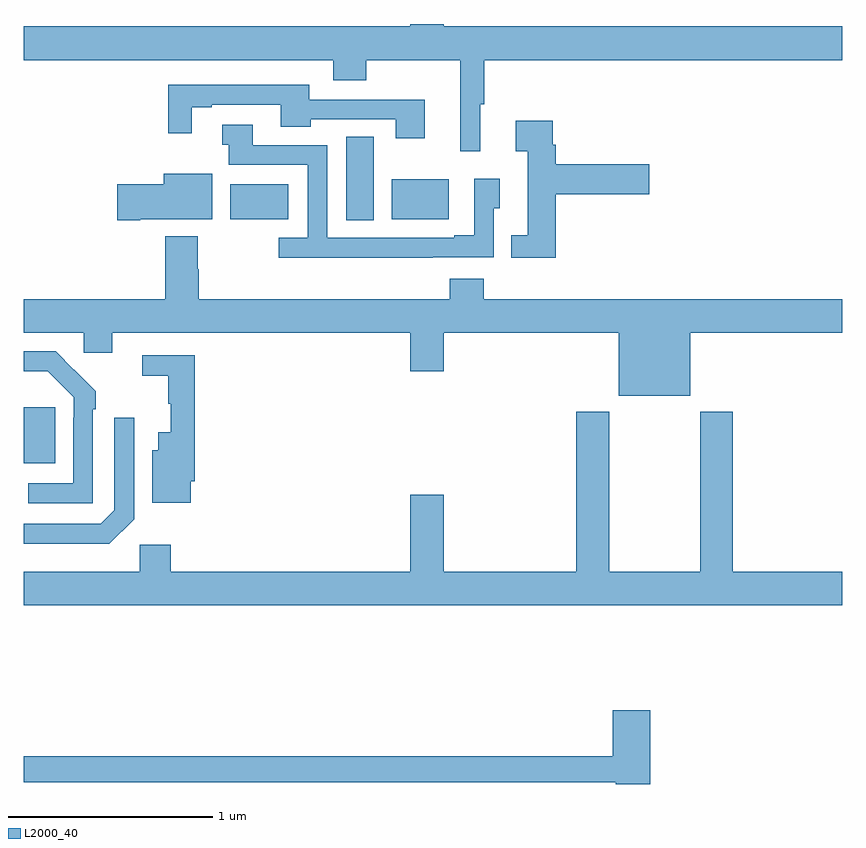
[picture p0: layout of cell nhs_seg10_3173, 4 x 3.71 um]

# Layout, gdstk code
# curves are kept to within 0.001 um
import gdstk
lib = gdstk.Library(unit=1e-6, precision=1e-09)
def R(c, l, rs):  # rectangles x0, y0, x1, y1
    for r in rs: c.add(gdstk.rectangle(r[:2], r[2:], *l))
def P(c, l, *ps):  # polygons
    for p in ps: c.add(gdstk.Polygon(p, *l))
L2000_40 = (2000, 40)

nhs_seg10_3173 = lib.new_cell('nhs_seg10_3173')
R(nhs_seg10_3173, L2000_40, [(283,1290.353,283.153,1290.628), (284.576,1291.54,284.71,1291.949), (284.009,1291.547,284.293,1291.717), (284.798,1291.547,285.076,1291.741)])
P(nhs_seg10_3173, L2000_40, [(285.232,1292.109),(285.251,1292.109),(285.251,1292.324),(287,1292.324),(287,1292.488),(285.052,1292.488),(285.052,1292.5),(284.888,1292.5),(284.888,1292.488),(283,1292.488),(283,1292.324),(284.513,1292.324),(284.513,1292.225),(284.673,1292.225),(284.673,1292.324),(285.134,1292.324),(285.134,1291.878),(285.232,1291.878)],
  [(284.959,1292.13),(284.395,1292.13),(284.395,1292.202),(283.705,1292.202),(283.705,1291.965),(283.822,1291.965),(283.822,1292.094),(283.918,1292.094),(283.918,1292.106),(284.255,1292.106),(284.255,1291.997),(284.403,1291.997),(284.403,1292.034),(284.819,1292.034),(284.819,1291.941),(284.959,1291.941)],
  [(285.599,1291.667),(286.057,1291.667),(286.057,1291.814),(285.599,1291.814),(285.599,1291.91),(285.586,1291.91),(285.586,1292.026),(285.405,1292.026),(285.405,1291.879),(285.464,1291.879),(285.464,1291.468),(285.382,1291.468),(285.382,1291.358),(285.599,1291.358)],
  [(284.999,1291.359),(285.297,1291.359),(285.297,1291.599),(285.325,1291.599),(285.325,1291.744),(285.201,1291.744),(285.201,1291.468),(285.104,1291.468),(285.104,1291.455),(284.484,1291.455),(284.484,1291.908),(284.119,1291.908),(284.119,1292.007),(283.971,1292.007),(283.971,1291.91),(284.002,1291.91),(284.002,1291.812),(284.388,1291.812),(284.388,1291.455),(284.247,1291.455),(284.247,1291.358),(284.999,1291.358)],
  [(283.57,1291.547),(283.921,1291.547),(283.921,1291.768),(283.685,1291.768),(283.685,1291.718),(283.458,1291.718),(283.458,1291.54),(283.57,1291.54)],
  [(286.258,1290.992),(287,1290.992),(287,1291.156),(285.248,1291.156),(285.248,1291.255),(285.083,1291.255),(285.083,1291.156),(283.856,1291.156),(283.856,1291.301),(283.851,1291.301),(283.851,1291.462),(283.691,1291.462),(283.691,1291.156),(283,1291.156),(283,1290.992),(283.293,1290.992),(283.293,1290.894),(283.432,1290.894),(283.432,1290.992),(284.888,1290.992),(284.888,1290.804),(285.052,1290.804),(285.052,1290.992),(285.908,1290.992),(285.908,1290.683),(286.258,1290.683)],
  [(283.338,1290.617),(283.353,1290.617),(283.353,1290.705),(283.156,1290.9),(283,1290.9),(283,1290.804),(283.117,1290.804),(283.245,1290.675),(283.245,1290.575),(283.242,1290.575),(283.242,1290.255),(283.023,1290.255),(283.023,1290.159),(283.338,1290.159)],
  [(283.816,1290.265),(283.835,1290.265),(283.835,1290.882),(283.578,1290.882),(283.578,1290.781),(283.707,1290.781),(283.707,1290.645),(283.718,1290.645),(283.718,1290.505),(283.658,1290.505),(283.658,1290.418),(283.628,1290.418),(283.628,1290.161),(283.816,1290.161)],
  [(287,1289.824),(286.466,1289.824),(286.466,1290.604),(286.306,1290.604),(286.306,1289.824),(285.861,1289.824),(285.861,1290.604),(285.701,1290.604),(285.701,1289.824),(285.052,1289.824),(285.052,1290.199),(284.888,1290.199),(284.888,1289.824),(283.718,1289.824),(283.718,1289.956),(283.566,1289.956),(283.566,1289.824),(283,1289.824),(283,1289.66),(287,1289.66)],
  [(283.539,1290.081),(283.539,1290.577),(283.443,1290.577),(283.443,1290.123),(283.377,1290.057),(283,1290.057),(283,1289.96),(283.418,1289.96)],
  [(286.061,1289.146),(285.878,1289.146),(285.878,1288.922),(283,1288.922),(283,1288.794),(285.894,1288.794),(285.894,1288.786),(286.061,1288.786)])

lib.write_gds('nhs_seg10_3173.gds')
